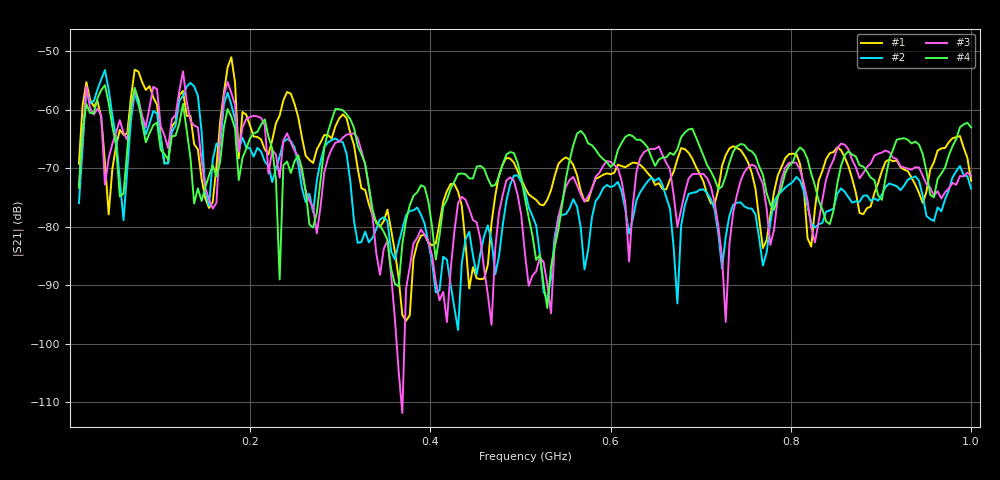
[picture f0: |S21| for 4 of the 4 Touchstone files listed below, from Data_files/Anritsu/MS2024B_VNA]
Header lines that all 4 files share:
! Anritsu VNA Master:  Model: MS2024B
! SN:  2417009
! Existing Calibration Information:
! TYPE:  Current Settings,  Active Cal Settings
! # POINTS:  241,  241
! START FREQ:  10.000 MHz,  10.000 MHz
! STOP FREQ:  1.000 GHz,  1.000 GHz
! SOURCE POWER:  Default,  Default
! IFBW:  1 kHz,  1 kHz
! AVG FACTOR:  16 ,  16
! REF PLANE 1:  0 mm,  0 mm
! REF PLANE 2:  0 mm,  0 mm
! CAL TYPE:  1P2P S11,S21,  1P2P S11,S21
! CAL METHOD:  SOLT,  SOLT
! CAL LINE TYPE:  Coax,  Coax
! DUT PORT 1:  N-Conn(M),  N-Conn(M)
! DUT PORT 2:  N-Conn(M),  N-Conn(M)
! CAL STATUS:  OK: Accuracy High,  --
# GHZ S DB R 50.0
! FREQ.GHZ  S11DB  S11A  S21DB  S21A  S12DB  S12A  S22DB  S22A
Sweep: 10 MHz to 1 GHz
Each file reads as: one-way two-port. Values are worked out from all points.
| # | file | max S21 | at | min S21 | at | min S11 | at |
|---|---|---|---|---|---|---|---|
| 1 | small-lpda-1.s2p | -51.00 dB | 179.1 MHz | -96.0 dB | 373 MHz | -32.0 dB | 162.6 MHz |
| 2 | small-lpda-1_with-stub.s2p | -53.18 dB | 38.88 MHz | -97.6 dB | 430.8 MHz | -23.2 dB | 199.8 MHz |
| 3 | small-lpda-2.s2p | -53.40 dB | 125.5 MHz | -111.8 dB | 368.9 MHz | -35.6 dB | 125.5 MHz |
| 4 | small-lpda-2_with-stub.s2p | -55.76 dB | 38.88 MHz | -93.9 dB | 529.8 MHz | -28.4 dB | 162.6 MHz |
